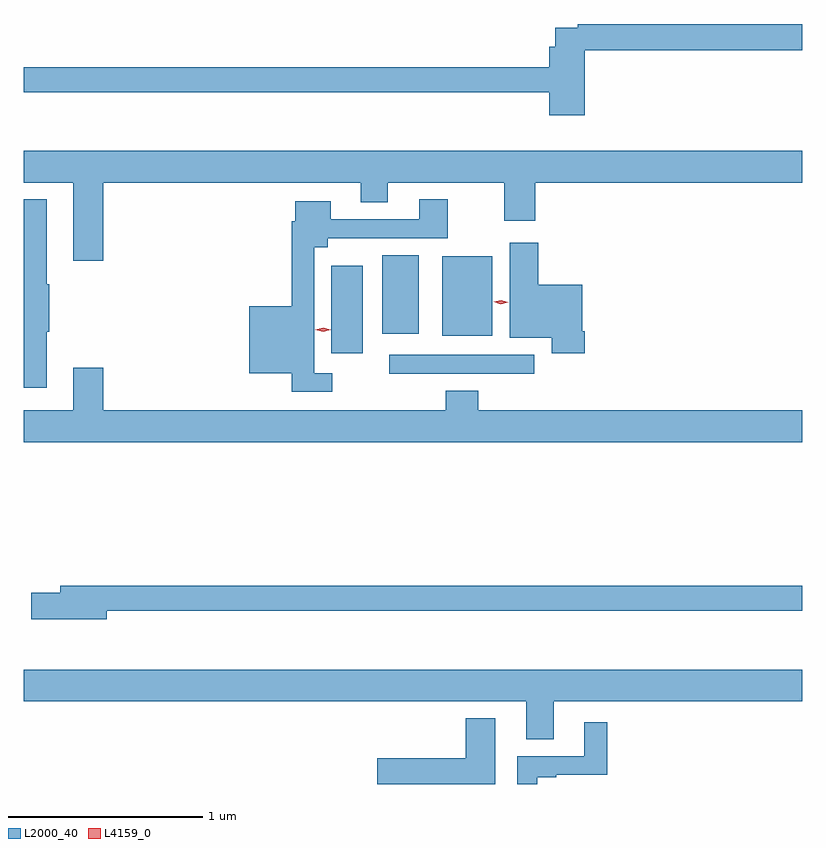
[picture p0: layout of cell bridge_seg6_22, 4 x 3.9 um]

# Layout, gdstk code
import gdstk
lib = gdstk.Library(unit=1e-6, precision=1e-09)
def R(c, l, rs):  # rectangles x0, y0, x1, y1
    for r in rs: c.add(gdstk.rectangle(r[:2], r[2:], *l))
def P(c, l, *ps):  # polygons
    for p in ps: c.add(gdstk.Polygon(p, *l))
L2000_40 = (2000, 40)
L4159_0 = (4159, 0)

bridge_seg6_22 = lib.new_cell('bridge_seg6_22')
R(bridge_seg6_22, L2000_40, [(965.931,992.976,966.676,993.072), (965.633,993.081,965.794,993.529), (966.203,993.17,966.46,993.58), (965.894,993.182,966.082,993.583)])
P(bridge_seg6_22, L2000_40, [(966.935,994.636),(968.052,994.636),(968.052,994.772),(966.898,994.772),(966.898,994.752),(966.782,994.752),(966.782,994.654),(966.752,994.654),(966.752,994.55),(964.052,994.55),(964.052,994.422),(966.752,994.422),(966.752,994.302),(966.935,994.302)],
  [(964.46,993.956),(965.783,993.956),(965.783,993.857),(965.923,993.857),(965.923,993.956),(966.52,993.956),(966.52,993.762),(966.68,993.762),(966.68,993.956),(968.052,993.956),(968.052,994.12),(964.052,994.12),(964.052,993.956),(964.307,993.956),(964.307,993.555),(964.46,993.555)],
  [(965.638,992.979),(965.545,992.979),(965.545,993.218),(965.544,993.218),(965.544,993.626),(965.614,993.626),(965.614,993.672),(966.231,993.672),(966.231,993.871),(966.083,993.871),(966.083,993.768),(965.629,993.768),(965.629,993.862),(965.447,993.862),(965.447,993.758),(965.428,993.758),(965.428,993.322),(965.21,993.322),(965.21,992.978),(965.428,992.978),(965.428,992.883),(965.638,992.883)],
  [(964.171,993.192),(964.184,993.192),(964.184,993.436),(964.171,993.436),(964.171,993.871),(964.052,993.871),(964.052,992.904),(964.171,992.904)],
  [(966.935,993.193),(966.922,993.193),(966.922,993.433),(966.695,993.433),(966.695,993.649),(966.548,993.649),(966.548,993.161),(966.764,993.161),(966.764,993.081),(966.935,993.081)],
  [(968.052,992.788),(966.386,992.788),(966.386,992.887),(966.221,992.887),(966.221,992.788),(964.46,992.788),(964.46,993.007),(964.307,993.007),(964.307,992.788),(964.052,992.788),(964.052,992.624),(968.052,992.624)],
  [(964.48,991.758),(968.052,991.758),(968.052,991.886),(964.241,991.886),(964.241,991.85),(964.092,991.85),(964.092,991.715),(964.48,991.715)],
  [(966.775,991.292),(968.052,991.292),(968.052,991.456),(964.052,991.456),(964.052,991.292),(966.635,991.292),(966.635,991.098),(966.775,991.098)],
  [(966.475,991.207),(966.323,991.207),(966.323,990.999),(965.868,990.999),(965.868,990.868),(966.475,990.868)],
  [(966.691,990.903),(966.787,990.903),(966.787,990.915),(967.049,990.915),(967.049,991.186),(966.932,991.186),(966.932,991.011),(966.587,991.011),(966.587,990.868),(966.691,990.868)])
P(bridge_seg6_22, L4159_0, [(966.504,993.333),(966.468,993.344),(966.468,993.344),(966.468,993.344),(966.505,993.353),(966.541,993.343),(966.541,993.342),(966.541,993.342)],
  [(965.59,993.191),(965.551,993.201),(965.551,993.201),(965.551,993.201),(965.59,993.211),(965.629,993.201),(965.629,993.201),(965.629,993.201)])

lib.write_gds('bridge_seg6_22.gds')
